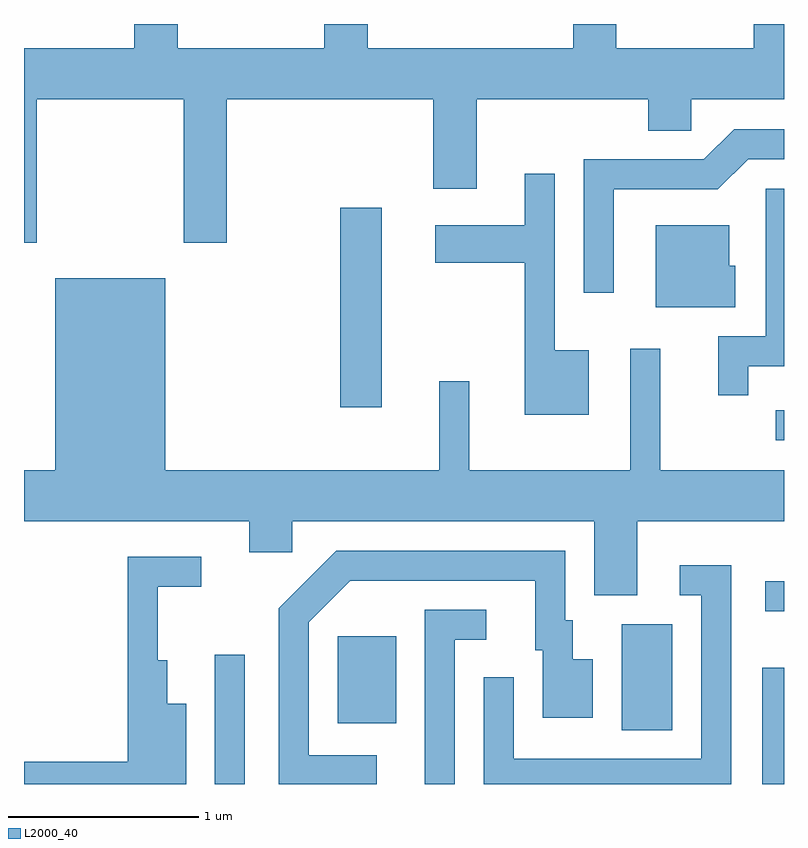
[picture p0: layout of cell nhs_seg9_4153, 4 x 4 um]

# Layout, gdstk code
import gdstk
lib = gdstk.Library(unit=1e-6, precision=1e-09)
def R(c, l, rs):  # rectangles x0, y0, x1, y1
    for r in rs: c.add(gdstk.rectangle(r[:2], r[2:], *l))
def P(c, l, *ps):  # polygons
    for p in ps: c.add(gdstk.Polygon(p, *l))
L2000_40 = (2000, 40)

nhs_seg9_4153 = lib.new_cell('nhs_seg9_4153')
R(nhs_seg9_4153, L2000_40, [(308.616,1990.432,308.774,1991.113), (311.496,1990.432,311.611,1991.044), (310.756,1990.716,311.024,1991.274), (309.261,1990.751,309.569,1991.209), (311.513,1991.341,311.611,1991.499), (311.568,1992.241,311.611,1992.399), (309.276,1992.416,309.494,1993.464)])
P(nhs_seg9_4153, L2000_40, [(307.679,1994.036),(308.451,1994.036),(308.451,1993.281),(308.679,1993.281),(308.679,1994.036),(309.766,1994.036),(309.766,1993.566),(309.994,1993.566),(309.994,1994.036),(310.896,1994.036),(310.896,1993.871),(311.124,1993.871),(311.124,1994.036),(311.611,1994.036),(311.611,1994.432),(311.451,1994.432),(311.451,1994.304),(310.729,1994.304),(310.729,1994.432),(310.501,1994.432),(310.501,1994.304),(309.419,1994.304),(309.419,1994.432),(309.191,1994.432),(309.191,1994.304),(308.419,1994.304),(308.419,1994.432),(308.191,1994.432),(308.191,1994.304),(307.611,1994.304),(307.611,1993.281),(307.679,1993.281)],
  [(310.714,1993.561),(311.262,1993.561),(311.422,1993.721),(311.611,1993.721),(311.611,1993.879),(311.349,1993.879),(311.189,1993.719),(310.556,1993.719),(310.556,1993.018),(310.714,1993.018)],
  [(310.584,1992.714),(310.404,1992.714),(310.404,1993.643),(310.246,1993.643),(310.246,1993.374),(309.776,1993.374),(309.776,1993.176),(310.246,1993.176),(310.246,1992.376),(310.584,1992.376)],
  [(311.424,1992.631),(311.611,1992.631),(311.611,1993.564),(311.516,1993.564),(311.516,1992.789),(311.266,1992.789),(311.266,1992.478),(311.424,1992.478)],
  [(311.354,1993.159),(311.324,1993.159),(311.324,1993.374),(310.936,1993.374),(310.936,1992.941),(311.354,1992.941)],
  [(310.839,1991.816),(311.611,1991.816),(311.611,1992.084),(310.959,1992.084),(310.959,1992.723),(310.801,1992.723),(310.801,1992.084),(309.954,1992.084),(309.954,1992.553),(309.796,1992.553),(309.796,1992.084),(308.354,1992.084),(308.354,1993.094),(307.776,1993.094),(307.776,1992.084),(307.611,1992.084),(307.611,1991.816),(308.796,1991.816),(308.796,1991.651),(309.024,1991.651),(309.024,1991.816),(310.611,1991.816),(310.611,1991.426),(310.839,1991.426)],
  [(309.468,1990.584),(309.109,1990.584),(309.109,1991.284),(309.327,1991.501),(310.301,1991.501),(310.301,1991.136),(310.341,1991.136),(310.341,1990.781),(310.604,1990.781),(310.604,1991.089),(310.499,1991.089),(310.499,1991.294),(310.459,1991.294),(310.459,1991.659),(309.254,1991.659),(308.951,1991.357),(308.951,1990.432),(309.468,1990.432)],
  [(308.464,1990.854),(308.364,1990.854),(308.364,1991.084),(308.314,1991.084),(308.314,1991.471),(308.543,1991.471),(308.543,1991.629),(308.156,1991.629),(308.156,1990.549),(307.611,1990.549),(307.611,1990.432),(308.464,1990.432)],
  [(311.334,1991.584),(311.063,1991.584),(311.063,1991.426),(311.176,1991.426),(311.176,1990.564),(310.189,1990.564),(310.189,1990.993),(310.031,1990.993),(310.031,1990.432),(311.334,1990.432)],
  [(309.879,1991.191),(310.043,1991.191),(310.043,1991.349),(309.721,1991.349),(309.721,1990.432),(309.879,1990.432)])

lib.write_gds('nhs_seg9_4153.gds')
